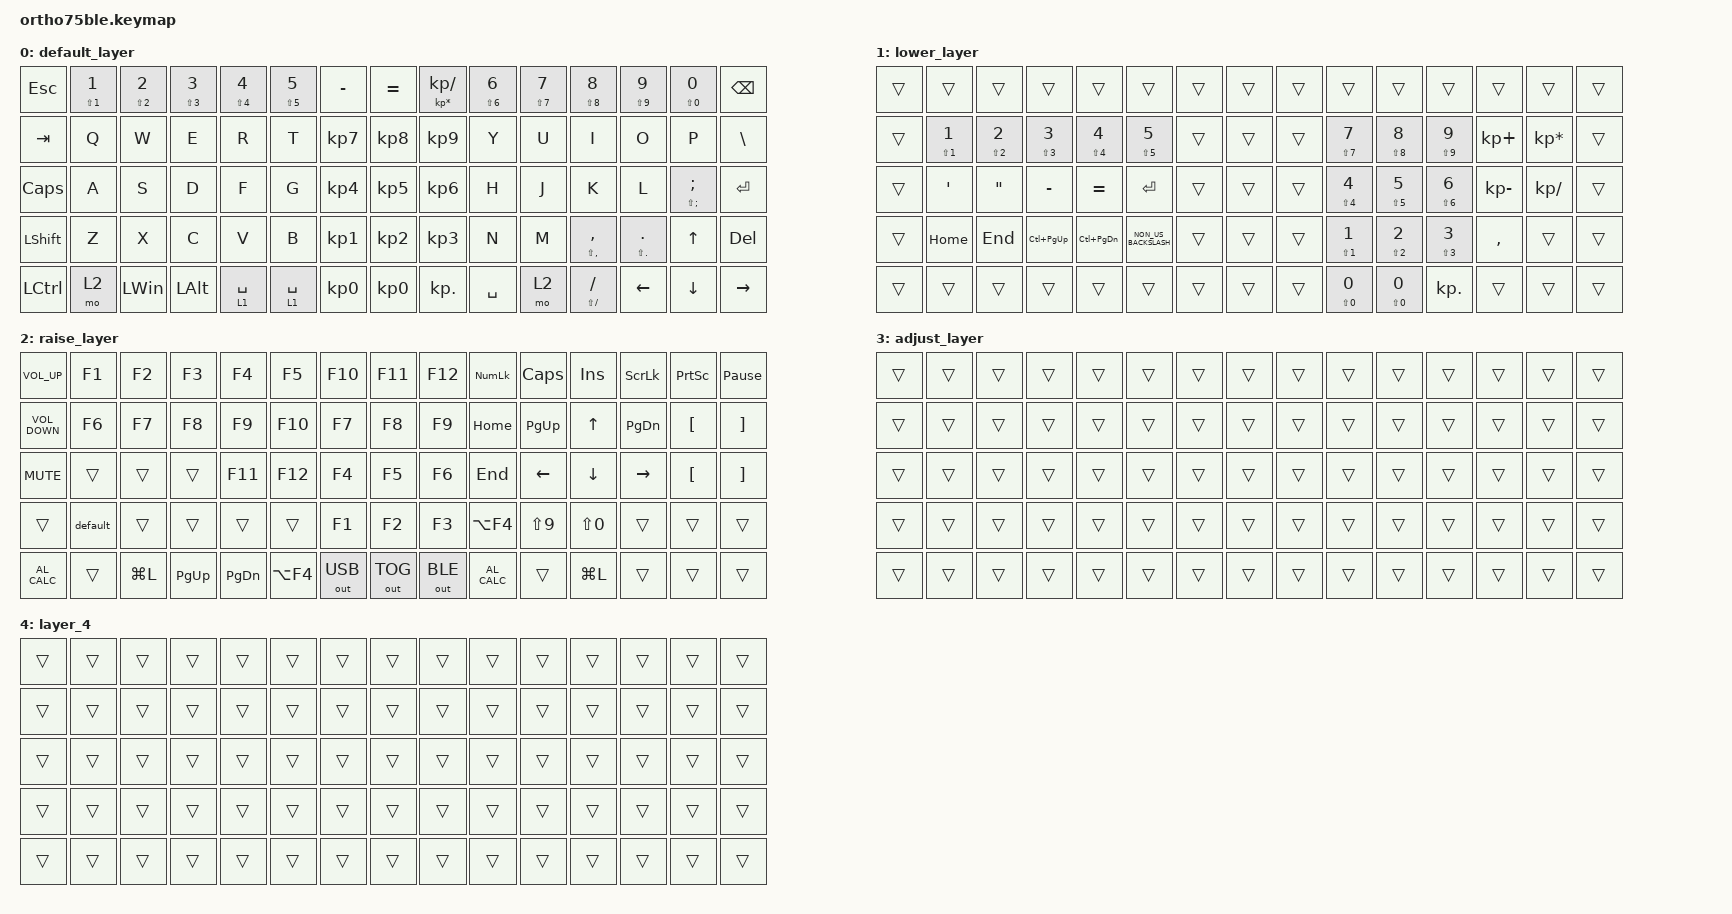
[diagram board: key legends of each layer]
/*
 * Copyright (c) 2021 The ZMK Contributors
 *
 * SPDX-License-Identifier: MIT
 */

#include <behaviors.dtsi>
#include <dt-bindings/zmk/keys.h>
#include <dt-bindings/zmk/outputs.h>

&lt {
    flavor = "balanced";
    tapping-term-ms = <100>;
};

/ {
    combos {
        compatible = "zmk,combos";

        combo_bksp {
            bindings = <&kp BACKSPACE>;
            key-positions = <19 20>;
            layers = <0>;
        };

        combo_enter {
            bindings = <&kp ENTER>;
            key-positions = <34 35>;
        };

        combo_delete {
            bindings = <&kp DELETE>;
            key-positions = <49 50>;
        };

        combo_ctrlenter {
            bindings = <&kp LC(ENTER)>;
            key-positions = <65 50>;
        };

        combo_pad {
            bindings = <&tog 1>;
            key-positions = <71 70>;
        };
    };

    macros {
        default: default {
            compatible = "zmk,behavior-macro";
            #binding-cells = <0>;
            bindings = <&kp N1 &kp N2 &kp N1 &kp N2 &kp N1 &kp N2 &kp N3>;
            label = "DEFAULT";
        };
    };

    behaviors {
        auto_shift: auto_shift {
            compatible = "zmk,behavior-hold-tap";
            label = "AUTO_SHIFT";
            bindings = <&kp>, <&kp>;

            #binding-cells = <2>;
            tapping-term-ms = <175>;
            quick-tap-ms = <0>;
            flavor = "tap-preferred";
        };
    };

    keymap {
        compatible = "zmk,keymap";

        default_layer {
            bindings = <
&kp ESC     &auto_shift LS(N1) N1  &auto_shift LS(N2) N2  &auto_shift LS(N3) N3  &auto_shift LS(N4) N4  &auto_shift LS(N5) N5  &kp MINUS        &kp EQUAL  &auto_shift KP_MULTIPLY KP_DIVIDE  &auto_shift LS(N6) N6  &auto_shift LS(N7) N7  &auto_shift LS(N8) N8        &auto_shift LS(N9) N9    &auto_shift LS(N0) N0      &kp BSPC
&kp TAB     &kp Q                  &kp W                  &kp E                  &kp R                  &kp T                  &kp KP_N7        &kp KP_N8  &kp KP_N9                          &kp Y                  &kp U                  &kp I                        &kp O                    &kp P                      &kp BSLH
&kp CAPS    &kp A                  &kp S                  &kp D                  &kp F                  &kp G                  &kp KP_N4        &kp KP_N5  &kp KP_N6                          &kp H                  &kp J                  &kp K                        &kp L                    &auto_shift LS(SEMI) SEMI  &kp ENTER
&kp LSHIFT  &kp Z                  &kp X                  &kp C                  &kp V                  &kp B                  &kp KP_N1        &kp KP_N2  &kp KP_N3                          &kp N                  &kp M                  &auto_shift LS(COMMA) COMMA  &auto_shift LS(DOT) DOT  &kp UP                     &kp DELETE
&kp LCTRL   &mo 2                  &kp LWIN               &kp LALT               &lt 1 SPACE            &lt 1 SPACE            &kp KP_NUMBER_0  &kp KP_N0  &kp KP_DOT                         &kp SPACE              &mo 2                  &auto_shift LS(FSLH) FSLH    &kp LEFT                 &kp DOWN                   &kp RIGHT
            >;
        };

        lower_layer {
            bindings = <
&trans  &trans                 &trans                 &trans                       &trans                 &trans                 &trans  &trans  &trans  &trans                 &trans                 &trans                 &trans        &trans           &trans
&trans  &auto_shift LS(N1) N1  &auto_shift LS(N2) N2  &auto_shift LS(N3) NUMBER_3  &auto_shift LS(N4) N4  &auto_shift LS(N5) N5  &trans  &trans  &trans  &auto_shift LS(N7) N7  &auto_shift LS(N8) N8  &auto_shift LS(N9) N9  &kp KP_PLUS   &kp KP_ASTERISK  &trans
&trans  &kp SINGLE_QUOTE       &kp DOUBLE_QUOTES      &kp MINUS                    &kp EQUAL              &kp ENTER              &trans  &trans  &trans  &auto_shift LS(N4) N4  &auto_shift LS(N5) N5  &auto_shift LS(N6) N6  &kp KP_MINUS  &kp KP_DIVIDE    &trans
&trans  &kp HOME               &kp END                &kp LC(PG_UP)                &kp LC(PAGE_DOWN)      &kp NON_US_BACKSLASH   &trans  &trans  &trans  &auto_shift LS(N1) N1  &auto_shift LS(N2) N2  &auto_shift LS(N3) N3  &kp COMMA     &trans           &trans
&trans  &trans                 &trans                 &trans                       &trans                 &trans                 &trans  &trans  &trans  &auto_shift LS(N0) N0  &auto_shift LS(N0) N0  &kp KP_DOT             &trans        &trans           &trans
            >;
        };

        raise_layer {
            bindings = <
&kp C_VOLUME_UP    &kp F1    &kp F2     &kp F3       &kp F4         &kp F5      &kp F10  &kp F11  &kp F12  &kp KP_NUMLOCK  &kp CAPSLOCK  &kp INSERT    &kp SCROLLLOCK  &kp PRINTSCREEN   &kp PAUSE_BREAK
&kp C_VOLUME_DOWN  &kp F6    &kp F7     &kp F8       &kp F9         &kp F10     &kp F7   &kp F8   &kp F9   &kp HOME        &kp PG_UP     &kp UP_ARROW  &kp PAGE_DOWN   &kp LEFT_BRACKET  &kp RIGHT_BRACKET
&kp K_MUTE         &trans    &trans     &trans       &kp F11        &kp F12     &kp F4   &kp F5   &kp F6   &kp END         &kp LEFT      &kp DOWN      &kp RIGHT       &kp LEFT_BRACKET  &kp RIGHT_BRACKET
&trans             &default  &trans     &trans       &trans         &trans      &kp F1   &kp F2   &kp F3   &kp LA(F4)      &kp LS(N9)    &kp LS(N0)    &trans          &trans            &trans
&kp C_AL_CALC      &trans    &kp LG(L)  &kp PAGE_UP  &kp PAGE_DOWN  &kp LA(F4)  &out OUT_USB   &out OUT_TOG   &out OUT_BLE   &kp C_AL_CALC   &trans        &kp LG(L)     &trans          &trans            &trans
            >;
        };

        adjust_layer {
            bindings = <
&trans  &trans  &trans  &trans  &trans  &trans  &trans  &trans  &trans  &trans  &trans  &trans  &trans  &trans  &trans
&trans  &trans  &trans  &trans  &trans  &trans  &trans  &trans  &trans  &trans  &trans  &trans  &trans  &trans  &trans
&trans  &trans  &trans  &trans  &trans  &trans  &trans  &trans  &trans  &trans  &trans  &trans  &trans  &trans  &trans
&trans  &trans  &trans  &trans  &trans  &trans  &trans  &trans  &trans  &trans  &trans  &trans  &trans  &trans  &trans
&trans  &trans  &trans  &trans  &trans  &trans  &trans  &trans  &trans  &trans  &trans  &trans  &trans  &trans  &trans
            >;
        };

        layer_4 {
            bindings = <
&trans  &trans  &trans  &trans  &trans  &trans  &trans  &trans  &trans  &trans  &trans  &trans  &trans  &trans  &trans
&trans  &trans  &trans  &trans  &trans  &trans  &trans  &trans  &trans  &trans  &trans  &trans  &trans  &trans  &trans
&trans  &trans  &trans  &trans  &trans  &trans  &trans  &trans  &trans  &trans  &trans  &trans  &trans  &trans  &trans
&trans  &trans  &trans  &trans  &trans  &trans  &trans  &trans  &trans  &trans  &trans  &trans  &trans  &trans  &trans
&trans  &trans  &trans  &trans  &trans  &trans  &trans  &trans  &trans  &trans  &trans  &trans  &trans  &trans  &trans
            >;
        };
    };
};
